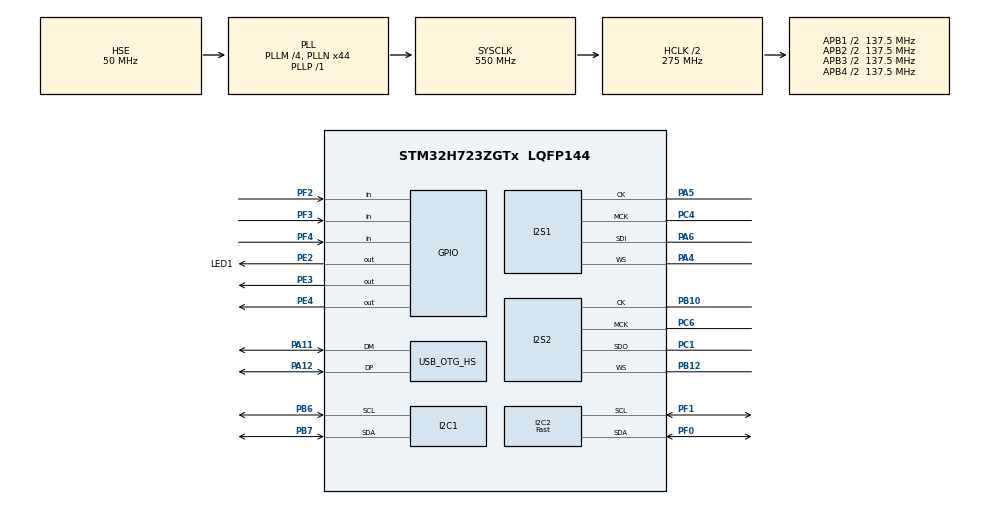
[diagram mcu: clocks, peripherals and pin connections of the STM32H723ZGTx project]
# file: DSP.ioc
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Dma.Request0=SPI1_RX
Dma.Request1=SPI2_TX
Dma.SPI1_RX.0.Direction=DMA_PERIPH_TO_MEMORY
Dma.SPI1_RX.0.EventEnable=DISABLE
Dma.SPI1_RX.0.FIFOMode=DMA_FIFOMODE_DISABLE
Dma.SPI1_RX.0.Instance=DMA1_Stream0
Dma.SPI1_RX.0.MemDataAlignment=DMA_MDATAALIGN_WORD
Dma.SPI1_RX.0.MemInc=DMA_MINC_ENABLE
Dma.SPI1_RX.0.Mode=DMA_CIRCULAR
Dma.SPI1_RX.0.PeriphDataAlignment=DMA_PDATAALIGN_WORD
Dma.SPI1_RX.0.PeriphInc=DMA_PINC_DISABLE
Dma.SPI1_RX.0.Polarity=HAL_DMAMUX_REQ_GEN_RISING
Dma.SPI1_RX.0.Priority=DMA_PRIORITY_VERY_HIGH
Dma.SPI1_RX.0.RequestNumber=1
Dma.SPI1_RX.0.SignalID=NONE
Dma.SPI1_RX.0.SyncEnable=DISABLE
Dma.SPI1_RX.0.SyncPolarity=HAL_DMAMUX_SYNC_NO_EVENT
Dma.SPI1_RX.0.SyncRequestNumber=1
Dma.SPI1_RX.0.SyncSignalID=NONE
Dma.SPI2_TX.1.Direction=DMA_MEMORY_TO_PERIPH
Dma.SPI2_TX.1.EventEnable=DISABLE
Dma.SPI2_TX.1.FIFOMode=DMA_FIFOMODE_DISABLE
Dma.SPI2_TX.1.Instance=DMA1_Stream1
Dma.SPI2_TX.1.MemDataAlignment=DMA_MDATAALIGN_WORD
Dma.SPI2_TX.1.MemInc=DMA_MINC_ENABLE
Dma.SPI2_TX.1.Mode=DMA_CIRCULAR
Dma.SPI2_TX.1.PeriphDataAlignment=DMA_PDATAALIGN_WORD
Dma.SPI2_TX.1.PeriphInc=DMA_PINC_DISABLE
Dma.SPI2_TX.1.Polarity=HAL_DMAMUX_REQ_GEN_RISING
Dma.SPI2_TX.1.Priority=DMA_PRIORITY_VERY_HIGH
Dma.SPI2_TX.1.RequestNumber=1
Dma.SPI2_TX.1.SignalID=NONE
Dma.SPI2_TX.1.SyncEnable=DISABLE
Dma.SPI2_TX.1.SyncPolarity=HAL_DMAMUX_SYNC_NO_EVENT
Dma.SPI2_TX.1.SyncRequestNumber=1
Dma.SPI2_TX.1.SyncSignalID=NONE
I2C1.Timing=0x60404E72
I2C2.I2C_Speed_Mode=I2C_Fast
I2C2.Timing=0x00D049FB
I2S1.AudioFreq=I2S_AUDIOFREQ_48K
I2S1.DataFormat=I2S_DATAFORMAT_24B
I2S1.ErrorAudioFreq=-0.53 %
I2S1.Instance=SPI$Index
I2S1.RealAudioFreq=47.743 KHz
I2S2.AudioFreq=I2S_AUDIOFREQ_48K
I2S2.DataFormat=I2S_DATAFORMAT_24B
I2S2.ErrorAudioFreq=-0.53 %
I2S2.Instance=SPI$Index
I2S2.RealAudioFreq=47.743 KHz
Mcu.Family=STM32H7
Mcu.Name=STM32H723ZGTx
Mcu.Package=LQFP144
NVIC.DMA1_Stream0_IRQn=true\:0\:0\:false\:false\:true\:false\:true\:true
NVIC.DMA1_Stream1_IRQn=true\:0\:0\:false\:false\:true\:false\:true\:true
NVIC.OTG_HS_IRQn=true\:0\:0\:false\:false\:true\:false\:true\:true
NVIC.PriorityGroup=NVIC_PRIORITYGROUP_4
PA11.Mode=Device_Only_FS
PA11.Signal=USB_OTG_HS_DM
PA12.Mode=Device_Only_FS
PA12.Signal=USB_OTG_HS_DP
PA13(JTMS/SWDIO).Mode=Serial_Wire
PA13(JTMS/SWDIO).Signal=DEBUG_JTMS-SWDIO
PA14(JTCK/SWCLK).Mode=Serial_Wire
PA14(JTCK/SWCLK).Signal=DEBUG_JTCK-SWCLK
PA4.Mode=Half_Duplex_Master_Rx
PA4.Signal=I2S1_WS
PA5.Mode=Half_Duplex_Master_Rx
PA5.Signal=I2S1_CK
PA6.Mode=Half_Duplex_Master_Rx
PA6.Signal=I2S1_SDI
PB10.Mode=Half_Duplex_Master_Tx
PB10.Signal=I2S2_CK
PB12.Mode=Half_Duplex_Master_Tx
PB12.Signal=I2S2_WS
PB6.Mode=I2C
PB6.Signal=I2C1_SCL
PB7.Mode=I2C
PB7.Signal=I2C1_SDA
PC1.Mode=Half_Duplex_Master_Tx
PC1.Signal=I2S2_SDO
PC4.Mode=Master_Clock_Activated
PC4.Signal=I2S1_MCK
PC6.Mode=Master_Clock_Activated
PC6.Signal=I2S2_MCK
PE2.GPIO_Label=LED1
PE2.Signal=GPIO_Output
PE3.Signal=GPIO_Output
PE4.Signal=GPIO_Output
PF0.Mode=I2C
PF0.Signal=I2C2_SDA
PF1.Mode=I2C
PF1.Signal=I2C2_SCL
PF2.GPIO_PuPd=GPIO_PULLUP
PF2.Signal=GPIO_Input
PF3.GPIO_PuPd=GPIO_PULLUP
PF3.Signal=GPIO_Input
PF4.GPIO_PuPd=GPIO_PULLUP
PF4.Signal=GPIO_Input
PH0-OSC_IN.Mode=HSE-External-Oscillator
PH0-OSC_IN.Signal=RCC_OSC_IN
PH1-OSC_OUT.Mode=HSE-External-Oscillator
PH1-OSC_OUT.Signal=RCC_OSC_OUT
ProjectManager.HeapSize=0x200
ProjectManager.StackSize=0x400
ProjectManager.TargetToolchain=STM32CubeIDE
RCC.ADCFreq_Value=100781250
RCC.APB1Freq_Value=137500000
RCC.APB2Freq_Value=137500000
RCC.APB3Freq_Value=137500000
RCC.APB4Freq_Value=137500000
RCC.CortexFreq_Value=550000000
RCC.D1PPRE=RCC_APB3_DIV2
RCC.D2PPRE1=RCC_APB1_DIV2
RCC.D2PPRE2=RCC_APB2_DIV2
RCC.D3PPRE=RCC_APB4_DIV2
RCC.DIVM1=4
RCC.DIVN1=44
RCC.DIVP1=1
RCC.DIVQ1=3
RCC.HCLKFreq_Value=275000000
RCC.HPRE=RCC_HCLK_DIV2
RCC.HSE_VALUE=50000000
RCC.PLL2FRACN=0
RCC.PLL3FRACN=0
RCC.PLLFRACN=0
RCC.PLLSourceVirtual=RCC_PLLSOURCE_HSE
RCC.SYSCLKFreq_VALUE=550000000
RCC.SYSCLKSource=RCC_SYSCLKSOURCE_PLLCLK
RCC.USBCLockSelection=RCC_USBCLKSOURCE_HSI48
RCC.USBFreq_Value=48000000
USB_DEVICE.CLASS_NAME_HS=CDC
USB_DEVICE.VirtualMode=Cdc
USB_DEVICE.VirtualModeHS=Cdc_HS
USB_OTG_HS.VirtualMode-Device_Only_FS=Device_Only_FS
VP_USB_DEVICE_VS_USB_DEVICE_CDC_HS.Mode=CDC_HS
board=custom

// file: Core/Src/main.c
/* USER CODE BEGIN Header */
/**
  ******************************************************************************
  * @file           : main.c
  * @brief          : Main program body
  ******************************************************************************
  * @attention
  *
  * Copyright (c) 2023 STMicroelectronics.
  * All rights reserved.
  *
  * This software is licensed under terms that can be found in the LICENSE file
  * in the root directory of this software component.
  * If no LICENSE file comes with this software, it is provided AS-IS.
  *
  ******************************************************************************
  */
/* USER CODE END Header */
#include "main.h"
#include "usb_device.h"

/* USER CODE BEGIN Includes */
#include "ssd1306.h"
#include "fonts.h"
#include "test.h"

#include "usbd_cdc_if.h"

#include "math.h"
/* USER CODE END Includes */

/* USER CODE BEGIN PTD */
#define effectsNum 8
#define sampleRate 47743
#define usbBufferLen 256
/* USER CODE END PTD */

/* USER CODE BEGIN PM */
#define EXECUTE_EFFECT(effect)\
		struct effect ## Config effect ## Params;\
		paramsLen = sizeof(effect ## Params);\
		memcpy(&effect ## Params, effectsData + i, paramsLen);\
		d = effect(d, effect ## Params);

#define LOAD_EFFECT(effect)\
		struct effect ## Config effect ## Params;\
		paramsLen = sizeof(effect ## Params);\
		memcpy(&effect ## Params, effectsData + i, paramsLen);

#define SAVE_EFFECT(effect)\
		memcpy(effectsData + i, &effect ## Params, paramsLen);
/* USER CODE END PM */

I2C_HandleTypeDef hi2c1;
I2C_HandleTypeDef hi2c2;

I2S_HandleTypeDef hi2s1;
I2S_HandleTypeDef hi2s2;
DMA_HandleTypeDef hdma_spi1_rx;
DMA_HandleTypeDef hdma_spi2_tx;

/* USER CODE BEGIN PV */
int8_t bufSize = 64;
int32_t inData[64];
int32_t outData[64];
int32_t process[32];
int32_t output[32];

int8_t inReady = 0;
int8_t outReady = 0;
int8_t execute = 1;

const float HALF_PI = M_PI / 2;
const float ONE_AND_HALF_PI = M_PI + HALF_PI;
const float TWO_PI = 2 * M_PI;

uint8_t effectsData[usbBufferLen];
uint8_t effectsRawData[usbBufferLen] = {0xff, 0x0, 0xff};
uint8_t usbDataBuffer[usbBufferLen];
uint32_t usbBytesReady = 0;

struct distConfig {
	float gain;
};

struct softdistConfig {
	float gain;
};

struct vibratoConfig {
	float *previousInputsPtr;
	int previousInputsLen;
	float frequency;
	float strength;
};

struct chorusConfig {
	float *previousInputsPtr;
	int previousInputsLen;
	float frequency;
	float strength;
};

struct echoConfig {
	float *previousOutputsPtr;
	int previousOutputsLen;
	float delay;
	float attenuation;
};

struct lowpassConfig {
	float *lastOutputPtr;
	float filterConst;
};

struct highpassConfig {
	float *lastSamplesPtr;
	float filterConst;
};

struct tremoloConfig {
	float frequency;
	float strength;
};

struct rotaryConfig {
	float *previousInputsPtr;
	int previousInputsLen;
	float frequency;
	float vibratoStrength;
	float tremoloStrength;
};

struct reverbConfig {
	struct echoConfig filtersParams[6];
	float dry_wet;
	float reverbTime;
};

struct gainConfig {
	float gain;
};

struct noiseSupprConfig {
	int *counter;
	float threshold;
};

struct fuzzConfig {
	uint8_t dummy;
};

struct octaveConfig {
	uint8_t *state;
	float dry_wet;
};

const float dt = 1 / (float) sampleRate;
unsigned long generalInputN = 0;

/* USER CODE END PV */

void SystemClock_Config(void);
static void MX_GPIO_Init(void);
static void MX_DMA_Init(void);
static void MX_I2S1_Init(void);
static void MX_I2S2_Init(void);
static void MX_I2C2_Init(void);
static void MX_I2C1_Init(void);

/* USER CODE BEGIN 0 */
void crash(int code){
	if(code % 2 == 1){
		HAL_GPIO_WritePin(GPIOE, GPIO_PIN_3, 1);
	}
	if((code >> 1) % 2 == 1){
		HAL_GPIO_WritePin(GPIOE, GPIO_PIN_4, 1);
	}
	while(1);
}

void checkForNull(void* ptr){
	if(ptr == NULL){
		crash(3);
	}
}

float getReverbAttenuation(int samples, float time){
	float t = (float) samples / sampleRate;
	return 1 / (exp(t / time * log(1000)));
}

void loadEffects(){
	unsigned int i = 0;
	uint8_t effectId;
	unsigned int paramsLen;
	int channel = 1;
	memcpy(effectsData, effectsRawData, usbBufferLen);

	while(1){
		effectId = *(effectsData + i);
		i++;
		if(effectId == 0xff){
			if(channel == 1){
				channel = 2;
				continue;
			}else{
				break;
			}
		}

		if(effectId == 0){
			paramsLen = 0;

		}else if(effectId == 1){
			LOAD_EFFECT(dist)

		}else if(effectId == 2){
			LOAD_EFFECT(softdist)

		}else if(effectId == 3){
			LOAD_EFFECT(vibrato)
			vibratoParams.frequency = TWO_PI * vibratoParams.frequency / sampleRate;
			vibratoParams.strength = vibratoParams.strength / vibratoParams.frequency;
			vibratoParams.previousInputsLen = ceil(2 * vibratoParams.strength) + 3;
			vibratoParams.previousInputsPtr = (float*) calloc(vibratoParams.previousInputsLen, sizeof(float));
			checkForNull(vibratoParams.previousInputsPtr);
			SAVE_EFFECT(vibrato)

		}else if(effectId == 4){
			LOAD_EFFECT(chorus)
			chorusParams.frequency = TWO_PI * chorusParams.frequency / sampleRate;
			chorusParams.strength = chorusParams.strength / chorusParams.frequency;
			chorusParams.previousInputsLen = ceil(2 * chorusParams.strength) + 3;
			chorusParams.previousInputsPtr = (float*) calloc(chorusParams.previousInputsLen, sizeof(float));
			checkForNull(chorusParams.previousInputsPtr);
			SAVE_EFFECT(chorus)

		}else if(effectId == 5){
			LOAD_EFFECT(echo)
			echoParams.previousOutputsLen = ceil(echoParams.delay * sampleRate);
			echoParams.previousOutputsPtr = (float*) calloc(echoParams.previousOutputsLen, sizeof(float));
			checkForNull(echoParams.previousOutputsPtr);
			SAVE_EFFECT(echo)

		}else if(effectId == 6){
			LOAD_EFFECT(lowpass)
			lowpassParams.filterConst = dt / (dt + 1 / (TWO_PI * lowpassParams.filterConst));
			lowpassParams.lastOutputPtr = (float*) calloc(1, sizeof(float));
			checkForNull(lowpassParams.lastOutputPtr);
			SAVE_EFFECT(lowpass)

		}else if(effectId == 7){
			LOAD_EFFECT(highpass)
			highpassParams.filterConst = dt / (dt + 1 / (TWO_PI * highpassParams.filterConst));
			highpassParams.lastSamplesPtr = (float*) calloc(2, sizeof(float));
			checkForNull(highpassParams.lastSamplesPtr);
			SAVE_EFFECT(highpass)

		}else if(effectId == 8){
			LOAD_EFFECT(tremolo)
			tremoloParams.frequency = TWO_PI * tremoloParams.frequency / sampleRate;
			SAVE_EFFECT(tremolo)

		}else if(effectId == 9){
			LOAD_EFFECT(rotary)
			rotaryParams.frequency = TWO_PI * rotaryParams.frequency / sampleRate;
			rotaryParams.vibratoStrength = rotaryParams.vibratoStrength / rotaryParams.frequency;
			rotaryParams.previousInputsLen = ceil(2 * rotaryParams.vibratoStrength) + 3;
			rotaryParams.previousInputsPtr = (float*) calloc(rotaryParams.previousInputsLen, sizeof(float));
			checkForNull(rotaryParams.previousInputsPtr);
			SAVE_EFFECT(rotary)

		}else if(effectId == 10){
			LOAD_EFFECT(reverb)
			reverbParams.filtersParams[0].attenuation = getReverbAttenuation(9601, reverbParams.reverbTime);
			reverbParams.filtersParams[0].previousOutputsLen = 9601;
			reverbParams.filtersParams[1].attenuation = getReverbAttenuation(9999, reverbParams.reverbTime);
			reverbParams.filtersParams[1].previousOutputsLen = 9999;
			reverbParams.filtersParams[2].attenuation = getReverbAttenuation(10799, reverbParams.reverbTime);
			reverbParams.filtersParams[2].previousOutputsLen = 10799;
			reverbParams.filtersParams[3].attenuation = getReverbAttenuation(11599, reverbParams.reverbTime);
			reverbParams.filtersParams[3].previousOutputsLen = 11599;
			reverbParams.filtersParams[4].attenuation = getReverbAttenuation(11599, reverbParams.reverbTime);
			reverbParams.filtersParams[4].previousOutputsLen = 7001;
			reverbParams.filtersParams[5].attenuation = getReverbAttenuation(11599, reverbParams.reverbTime);
			reverbParams.filtersParams[5].previousOutputsLen = 2333;
			for(int i = 0; i < 6; i++){
				reverbParams.filtersParams[i].previousOutputsPtr = (float*) calloc(reverbParams.filtersParams[i].previousOutputsLen, sizeof(float));
				checkForNull(reverbParams.filtersParams[i].previousOutputsPtr);
			}
			SAVE_EFFECT(reverb)

		}else if(effectId == 11){
			LOAD_EFFECT(gain)

		}else if(effectId == 12){
			LOAD_EFFECT(noiseSuppr)
			noiseSupprParams.counter = (int*) calloc(1, sizeof(int));
			checkForNull(noiseSupprParams.counter);
			SAVE_EFFECT(noiseSuppr)

		}else if(effectId == 13){
			LOAD_EFFECT(fuzz)

		}else if(effectId == 14){
			LOAD_EFFECT(octave)
			octaveParams.state = (uint8_t*) calloc(2, sizeof(uint8_t));
			checkForNull(octaveParams.state);
			SAVE_EFFECT(octave)

		}else{
			crash(1);
		}
		i += paramsLen;
	}
}

void unloadEffects(){
	int i = 0;
	int effectId;
	int paramsLen;
	int channel = 1;

	while(1){
		effectId = *(effectsData + i);
		i++;
		if(effectId == 0xff){
			if(channel == 1){
				channel = 2;
				continue;
			}else{
				break;
			}
		}

		if(effectId == 0){
			paramsLen = 0;

		}else if(effectId == 1){
			LOAD_EFFECT(dist)

		}else if(effectId == 2){
			LOAD_EFFECT(softdist)

		}else if(effectId == 3){
			LOAD_EFFECT(vibrato)
			free(vibratoParams.previousInputsPtr);

		}else if(effectId == 4){
			LOAD_EFFECT(chorus)
			free(chorusParams.previousInputsPtr);

		}else if(effectId == 5){
			LOAD_EFFECT(echo)
			free(echoParams.previousOutputsPtr);

		}else if(effectId == 6){
			LOAD_EFFECT(lowpass)
			free(lowpassParams.lastOutputPtr);

		}else if(effectId == 7){
			LOAD_EFFECT(highpass)
			free(highpassParams.lastSamplesPtr);

		}else if(effectId == 8){
			LOAD_EFFECT(tremolo)

		}else if(effectId == 9){
			LOAD_EFFECT(rotary)
			free(rotaryParams.previousInputsPtr);

		}else if(effectId == 10){
			LOAD_EFFECT(reverb)
			for(int i = 0; i < 6; i++){
				free(reverbParams.filtersParams[i].previousOutputsPtr);
			}

		}else if(effectId == 11){
			LOAD_EFFECT(gain)

		}else if(effectId == 12){
			LOAD_EFFECT(noiseSuppr)
			free(noiseSupprParams.counter);

		}else if(effectId == 13){
			LOAD_EFFECT(fuzz)

		}else if(effectId == 14){
			LOAD_EFFECT(octave)
			free(octaveParams.state);

		}else{
			crash(1);
		}
		i += paramsLen;
	}
}

void HAL_I2S_RxHalfCpltCallback(I2S_HandleTypeDef * hi2s1){
	  for(int i = 0; i < 32; i++){
		  process[i] = inData[i];
	  }
	inReady = 1;
}
void HAL_I2S_TxHalfCpltCallback(I2S_HandleTypeDef * hi2s2){
	  for(int i = 0; i < 32; i++){
		  outData[i] = output[i];
	  }
	outReady = 1;
}
void HAL_I2S_RxCpltCallback(I2S_HandleTypeDef * hi2s1){
	  for(int i = 32; i < 64; i++){
		  process[i-32] = inData[i];
	  }
	inReady = 1;
}
void HAL_I2S_TxCpltCallback(I2S_HandleTypeDef * hi2s2){
	  for(int i = 32; i < 64; i++){
		  outData[i] = output[i-32];
	  }
	outReady = 1;
}

void usbReceiveHandle(){
	if(usbBytesReady >= 256){
		if(usbBytesReady > 256){
			crash(2);
		}
		usbBytesReady = 0;

		if(usbDataBuffer[0] == 0xFE){
			for(int i = 0; i < usbBufferLen; i += 64){
				CDC_Transmit_HS(effectsRawData + i, 64);
				HAL_Delay(5);
			}
		}else{
			unloadEffects();
			memcpy(effectsRawData, usbDataBuffer, usbBufferLen);
			for(int i = 0; i < usbBufferLen; i += 32){
				HAL_I2C_Mem_Write(&hi2c1, 0xA0, i, 2, effectsRawData + i, 32, HAL_MAX_DELAY);
				HAL_Delay(5);
			}
			loadEffects();
		}
	}
}

float loadSample(int i){
	int32_t temp = process[i] << 8;
	float d = (float) temp;
	d = d / 2147483392;
	return d;
}

void saveSample(float d, int i){
	d = d * 2147483392;
	int32_t temp = (int)d;
	temp = temp >> 8;
	output[i] = temp;
}

float dist(float d, struct distConfig params){
	d = d * params.gain;
	if(d > 1){
		d = 1;
	}else if(d < -1){
		d = -1;
	}
	return d;
}

float softdist(float d, struct softdistConfig params){
	d = d * params.gain;
	return atanf(d);
}

float getPreviousSample(float prevSamps[], int prevSampsLen, int currInp, int offset){
	offset = -offset;
	int index;
	if(offset <= currInp){
		index = currInp - offset;
	}else{
		index = prevSampsLen + currInp - offset;
	}

	return prevSamps[index];
}

float interpolate(float prevSamps[], int prevSampsLen, int currInp, float offset){
	int i = floor(offset);
	float r0, r1, r2, r3;
	r0 = offset - 2 - i;
	r1 = r0 + 1;
	r2 = r0 + 2;
	r3 = r0 + 3;

	float i0, i1, i2, i3;

	i0 = getPreviousSample(prevSamps, prevSampsLen, currInp, i);
	i1 = getPreviousSample(prevSamps, prevSampsLen, currInp, i - 1);
	i2 = getPreviousSample(prevSamps, prevSampsLen, currInp, i - 2);
	i3 = getPreviousSample(prevSamps, prevSampsLen, currInp, i - 3);

	return  r1 * r2 * (r3 * i0 - r0 * i3) / 6 + r0 * r3 * (r1 * i2 - r2 * i1) / 2;
}

float vibrato(float d, struct vibratoConfig params){
	int currInp = generalInputN % params.previousInputsLen;
	params.previousInputsPtr[currInp] = d;
	return interpolate(params.previousInputsPtr, params.previousInputsLen, currInp, - params.strength * (sinf(params.frequency * generalInputN) + 1));
}

float chorus(float d, struct chorusConfig params){
	int currInp = generalInputN % params.previousInputsLen;
	params.previousInputsPtr[currInp] = d;
	float vibr = interpolate(params.previousInputsPtr, params.previousInputsLen, currInp, - params.strength * (sinf(params.frequency * generalInputN) + 1));
	float clean = getPreviousSample(params.previousInputsPtr, params.previousInputsLen, currInp, - ((params.previousInputsLen - 3) / 3));
	return (vibr + clean) / 2;
}

float echo(float d, struct echoConfig params){
	int currSampN = generalInputN % params.previousOutputsLen;
	float prevSamp = getPreviousSample(params.previousOutputsPtr, params.previousOutputsLen, currSampN, -params.previousOutputsLen + 1);
	float currSamp = d + params.attenuation * prevSamp;
	params.previousOutputsPtr[currSampN] = currSamp;
	return currSamp;
}

float lowpass(float d, struct lowpassConfig params){
	d = *params.lastOutputPtr + params.filterConst * (d - (*params.lastOutputPtr));
	*params.lastOutputPtr = d;
	return d;
}

float highpass(float d, struct highpassConfig params){
	float temp = params.filterConst * (params.lastSamplesPtr[0] + d - params.lastSamplesPtr[1]);
	params.lastSamplesPtr[1] = d;
	params.lastSamplesPtr[0] = temp;
	return temp;
}

float tremolo(float d, struct tremoloConfig params){
	return d * (1 + params.strength * sinf(params.frequency * generalInputN)) / (1 + params.strength);
}

float rotary(float d, struct rotaryConfig params){
	int currInp = generalInputN % params.previousInputsLen;
	params.previousInputsPtr[currInp] = d;
	float effectSin = sinf(params.frequency * generalInputN);
	float vibr = interpolate(params.previousInputsPtr, params.previousInputsLen, currInp, - params.vibratoStrength * (effectSin + 1));
	return vibr * (1 + params.tremoloStrength * effectSin) / (1 + params.tremoloStrength);
}

float allPass(float d, struct echoConfig params){
	int currSampN = generalInputN % params.previousOutputsLen;
	float prevSamp = getPreviousSample(params.previousOutputsPtr, params.previousOutputsLen, currSampN, -params.previousOutputsLen + 1);
	float currSamp = d + params.attenuation * prevSamp;
	params.previousOutputsPtr[currSampN] = currSamp;
	return currSamp * (1 - params.attenuation * params.attenuation) - params.attenuation * d;
}

float reverb(float d, struct reverbConfig params){
	float comb1 = echo(d, params.filtersParams[0]);
	float comb2 = echo(d, params.filtersParams[1]);
	float comb3 = echo(d, params.filtersParams[2]);
	float comb4 = echo(d, params.filtersParams[3]);
	float sum = comb1 + comb2 + comb3 + comb4;

	return allPass(allPass(sum, params.filtersParams[4]), params.filtersParams[5]) * params.dry_wet + d * (1 - params.dry_wet);
}

float gain(float d, struct gainConfig params){
	return d * params.gain;
}

float noiseSuppr(float d, struct noiseSupprConfig params){
	if(fabs(d) > params.threshold){
		*params.counter = 4000;
	}
	if(*params.counter > 0){
		*params.counter = *params.counter - 1;
		return d;
	}else{
		return 0;
	}
}

float fuzz(float d, struct fuzzConfig params){
	if(d == 0){
		return 0;
	}
	if(d > 0){
		return 1;
	}else{
		return -1;
	}
}

float octave(float d, struct octaveConfig params){
	if(d >= 0){
		if(!params.state[0]){
			params.state[1] = !params.state[1];
		}
		params.state[0] = 1;
	}else{
		params.state[0] = 0;
	}

	if(params.state[1]){
		return (1 - params.dry_wet) * d + params.dry_wet;
	}else{
		return (1 - params.dry_wet) * d - params.dry_wet;
	}
}

void applyEffects(float ch1, float ch2, int codecBufferInd){
	int i = 0;
	int effectId;
	int channel = 1;
	float d = ch1;
	int paramsLen;

	while(1){
		effectId = *(effectsData + i);
		i++;
		if(effectId == 0xff){
			if(channel == 1){
				ch1 = d;
				d = ch2;
				channel = 2;
				continue;
			}else{
				ch2 = d;
				break;
			}
		}

		if(effectId == 0){
			paramsLen = 0;
			d = 0;

		}else if(effectId == 1){
			EXECUTE_EFFECT(dist)

		}else if(effectId == 2){
			EXECUTE_EFFECT(softdist)

		}else if(effectId == 3){
			EXECUTE_EFFECT(vibrato)

		}else if(effectId == 4){
			EXECUTE_EFFECT(chorus)

		}else if(effectId == 5){
			EXECUTE_EFFECT(echo)

		}else if(effectId == 6){
			EXECUTE_EFFECT(lowpass)

		}else if(effectId == 7){
			EXECUTE_EFFECT(highpass)

		}else if(effectId == 8){
			EXECUTE_EFFECT(tremolo)

		}else if(effectId == 9){
			EXECUTE_EFFECT(rotary)

		}else if(effectId == 10){
			EXECUTE_EFFECT(reverb)

		}else if(effectId == 11){
			EXECUTE_EFFECT(gain)

		}else if(effectId == 12){
			EXECUTE_EFFECT(noiseSuppr)

		}else if(effectId == 13){
			EXECUTE_EFFECT(fuzz)

		}else if(effectId == 14){
			EXECUTE_EFFECT(octave)

		}else{
			crash(1);
		}
		i += paramsLen;
	}

	if(ch1 > 1){
		ch1 = 1;
	}else if(ch1 < -1){
		ch1 = -1;
	}
	if(ch2 > 1){
		ch2 = 1;
	}else if(ch2 < -1){
		ch2 = -1;
	}

	saveSample(ch1, codecBufferInd);
	saveSample(ch2, codecBufferInd + 1);
}

void mainLoop(){
	usbReceiveHandle();
	//sound processing
	if(inReady && execute){ //executes when new data is fully loaded into half of the input buffer
		for(int i = 0; i<32; i += 2){
			float ch1 = loadSample(i);
			float ch2 = loadSample(i + 1);

			applyEffects(ch1, ch2, i);
			generalInputN++;
		}
		inReady = 0;
	}
}

/* USER CODE END 0 */

int main(void)
{

  /* MCU Configuration--------------------------------------------------------*/

  /* Reset of all peripherals, Initializes the Flash interface and the Systick. */
  HAL_Init();

  /* Configure the system clock */
  SystemClock_Config();

  /* Initialize all configured peripherals */
  MX_GPIO_Init();
  MX_DMA_Init();
  MX_I2S1_Init();
  MX_I2S2_Init();
  MX_I2C2_Init();
  MX_I2C1_Init();
  MX_USB_DEVICE_Init();
  /* USER CODE BEGIN 2 */
	MX_GPIO_Init();
	SSD1306_Init (); // initialize the display

	SSD1306_GotoXY (0,20); // goto 10, 10
	SSD1306_Puts ("PLAYING :)", &Font_11x18, 1); //
	SSD1306_UpdateScreen(); // update screen
	MX_I2S1_Init();
	MX_I2S2_Init();
	/* USER CODE BEGIN 2 */
	HAL_GPIO_WritePin(GPIOE, GPIO_PIN_2, 1);

	HAL_I2S_Receive_DMA(&hi2s1, &inData, 64);
	HAL_I2S_Transmit_DMA(&hi2s2, &outData, 64);

	for(int i = 0; i < usbBufferLen; i += 32){
		HAL_I2C_Mem_Read(&hi2c1, 0xA1, i, 2, effectsRawData + i, 32, HAL_MAX_DELAY);
		HAL_Delay(5);
	}

	loadEffects();
  /* USER CODE END 2 */

  /* Infinite loop */
  /* USER CODE BEGIN WHILE */
	while (1)
	{
		mainLoop();
    /* USER CODE END WHILE */

	}
}

void SystemClock_Config(void)
{
  RCC_OscInitTypeDef RCC_OscInitStruct = {0};
  RCC_ClkInitTypeDef RCC_ClkInitStruct = {0};

  /** Supply configuration update enable
  */
  HAL_PWREx_ConfigSupply(PWR_LDO_SUPPLY);

  /** Configure the main internal regulator output voltage
  */
  __HAL_PWR_VOLTAGESCALING_CONFIG(PWR_REGULATOR_VOLTAGE_SCALE0);

  while(!__HAL_PWR_GET_FLAG(PWR_FLAG_VOSRDY)) {}

  /** Initializes the RCC Oscillators according to the specified parameters
  * in the RCC_OscInitTypeDef structure.
  */
  RCC_OscInitStruct.OscillatorType = RCC_OSCILLATORTYPE_HSI48|RCC_OSCILLATORTYPE_HSE;
  RCC_OscInitStruct.HSEState = RCC_HSE_ON;
  RCC_OscInitStruct.HSI48State = RCC_HSI48_ON;
  RCC_OscInitStruct.PLL.PLLState = RCC_PLL_ON;
  RCC_OscInitStruct.PLL.PLLSource = RCC_PLLSOURCE_HSE;
  RCC_OscInitStruct.PLL.PLLM = 4;
  RCC_OscInitStruct.PLL.PLLN = 44;
  RCC_OscInitStruct.PLL.PLLP = 1;
  RCC_OscInitStruct.PLL.PLLQ = 3;
  RCC_OscInitStruct.PLL.PLLR = 2;
  RCC_OscInitStruct.PLL.PLLRGE = RCC_PLL1VCIRANGE_3;
  RCC_OscInitStruct.PLL.PLLVCOSEL = RCC_PLL1VCOWIDE;
  RCC_OscInitStruct.PLL.PLLFRACN = 0;
  if (HAL_RCC_OscConfig(&RCC_OscInitStruct) != HAL_OK)
  {
    Error_Handler();
  }

  /** Initializes the CPU, AHB and APB buses clocks
  */
  RCC_ClkInitStruct.ClockType = RCC_CLOCKTYPE_HCLK|RCC_CLOCKTYPE_SYSCLK
                              |RCC_CLOCKTYPE_PCLK1|RCC_CLOCKTYPE_PCLK2
                              |RCC_CLOCKTYPE_D3PCLK1|RCC_CLOCKTYPE_D1PCLK1;
  RCC_ClkInitStruct.SYSCLKSource = RCC_SYSCLKSOURCE_PLLCLK;
  RCC_ClkInitStruct.SYSCLKDivider = RCC_SYSCLK_DIV1;
  RCC_ClkInitStruct.AHBCLKDivider = RCC_HCLK_DIV2;
  RCC_ClkInitStruct.APB3CLKDivider = RCC_APB3_DIV2;
  RCC_ClkInitStruct.APB1CLKDivider = RCC_APB1_DIV2;
  RCC_ClkInitStruct.APB2CLKDivider = RCC_APB2_DIV2;
  RCC_ClkInitStruct.APB4CLKDivider = RCC_APB4_DIV2;

  if (HAL_RCC_ClockConfig(&RCC_ClkInitStruct, FLASH_LATENCY_3) != HAL_OK)
  {
    Error_Handler();
  }
}

static void MX_I2C1_Init(void)
{

  hi2c1.Instance = I2C1;
  hi2c1.Init.Timing = 0x60404E72;
  hi2c1.Init.OwnAddress1 = 0;
  hi2c1.Init.AddressingMode = I2C_ADDRESSINGMODE_7BIT;
  hi2c1.Init.DualAddressMode = I2C_DUALADDRESS_DISABLE;
  hi2c1.Init.OwnAddress2 = 0;
  hi2c1.Init.OwnAddress2Masks = I2C_OA2_NOMASK;
  hi2c1.Init.GeneralCallMode = I2C_GENERALCALL_DISABLE;
  hi2c1.Init.NoStretchMode = I2C_NOSTRETCH_DISABLE;
  if (HAL_I2C_Init(&hi2c1) != HAL_OK)
  {
    Error_Handler();
  }

  /** Configure Analogue filter
  */
  if (HAL_I2CEx_ConfigAnalogFilter(&hi2c1, I2C_ANALOGFILTER_ENABLE) != HAL_OK)
  {
    Error_Handler();
  }

  /** Configure Digital filter
  */
  if (HAL_I2CEx_ConfigDigitalFilter(&hi2c1, 0) != HAL_OK)
  {
    Error_Handler();
  }

}

static void MX_I2C2_Init(void)
{

  hi2c2.Instance = I2C2;
  hi2c2.Init.Timing = 0x00D049FB;
  hi2c2.Init.OwnAddress1 = 0;
  hi2c2.Init.AddressingMode = I2C_ADDRESSINGMODE_7BIT;
  hi2c2.Init.DualAddressMode = I2C_DUALADDRESS_DISABLE;
  hi2c2.Init.OwnAddress2 = 0;
  hi2c2.Init.OwnAddress2Masks = I2C_OA2_NOMASK;
  hi2c2.Init.GeneralCallMode = I2C_GENERALCALL_DISABLE;
  hi2c2.Init.NoStretchMode = I2C_NOSTRETCH_DISABLE;
  if (HAL_I2C_Init(&hi2c2) != HAL_OK)
  {
    Error_Handler();
  }

  /** Configure Analogue filter
  */
  if (HAL_I2CEx_ConfigAnalogFilter(&hi2c2, I2C_ANALOGFILTER_ENABLE) != HAL_OK)
  {
    Error_Handler();
  }

  /** Configure Digital filter
  */
  if (HAL_I2CEx_ConfigDigitalFilter(&hi2c2, 0) != HAL_OK)
  {
    Error_Handler();
  }

}

static void MX_I2S1_Init(void)
{

  hi2s1.Instance = SPI1;
  hi2s1.Init.Mode = I2S_MODE_MASTER_RX;
  hi2s1.Init.Standard = I2S_STANDARD_PHILIPS;
  hi2s1.Init.DataFormat = I2S_DATAFORMAT_24B;
  hi2s1.Init.MCLKOutput = I2S_MCLKOUTPUT_ENABLE;
  hi2s1.Init.AudioFreq = I2S_AUDIOFREQ_48K;
  hi2s1.Init.CPOL = I2S_CPOL_LOW;
  hi2s1.Init.FirstBit = I2S_FIRSTBIT_MSB;
  hi2s1.Init.WSInversion = I2S_WS_INVERSION_DISABLE;
  hi2s1.Init.Data24BitAlignment = I2S_DATA_24BIT_ALIGNMENT_RIGHT;
  hi2s1.Init.MasterKeepIOState = I2S_MASTER_KEEP_IO_STATE_DISABLE;
  if (HAL_I2S_Init(&hi2s1) != HAL_OK)
  {
    Error_Handler();
  }

}

static void MX_I2S2_Init(void)
{

  hi2s2.Instance = SPI2;
  hi2s2.Init.Mode = I2S_MODE_MASTER_TX;
  hi2s2.Init.Standard = I2S_STANDARD_PHILIPS;
  hi2s2.Init.DataFormat = I2S_DATAFORMAT_24B;
  hi2s2.Init.MCLKOutput = I2S_MCLKOUTPUT_ENABLE;
  hi2s2.Init.AudioFreq = I2S_AUDIOFREQ_48K;
  hi2s2.Init.CPOL = I2S_CPOL_LOW;
  hi2s2.Init.FirstBit = I2S_FIRSTBIT_MSB;
  hi2s2.Init.WSInversion = I2S_WS_INVERSION_DISABLE;
  hi2s2.Init.Data24BitAlignment = I2S_DATA_24BIT_ALIGNMENT_RIGHT;
  hi2s2.Init.MasterKeepIOState = I2S_MASTER_KEEP_IO_STATE_DISABLE;
  if (HAL_I2S_Init(&hi2s2) != HAL_OK)
  {
    Error_Handler();
  }

}

static void MX_DMA_Init(void)
{

  /* DMA controller clock enable */
  __HAL_RCC_DMA1_CLK_ENABLE();

  /* DMA interrupt init */
  /* DMA1_Stream0_IRQn interrupt configuration */
  HAL_NVIC_SetPriority(DMA1_Stream0_IRQn, 0, 0);
  HAL_NVIC_EnableIRQ(DMA1_Stream0_IRQn);
  /* DMA1_Stream1_IRQn interrupt configuration */
  HAL_NVIC_SetPriority(DMA1_Stream1_IRQn, 0, 0);
  HAL_NVIC_EnableIRQ(DMA1_Stream1_IRQn);

}

static void MX_GPIO_Init(void)
{
  GPIO_InitTypeDef GPIO_InitStruct = {0};

  /* GPIO Ports Clock Enable */
  __HAL_RCC_GPIOE_CLK_ENABLE();
  __HAL_RCC_GPIOF_CLK_ENABLE();
  __HAL_RCC_GPIOH_CLK_ENABLE();
  __HAL_RCC_GPIOC_CLK_ENABLE();
  __HAL_RCC_GPIOA_CLK_ENABLE();
  __HAL_RCC_GPIOB_CLK_ENABLE();

  /*Configure GPIO pin Output Level */
  HAL_GPIO_WritePin(GPIOE, LED1_Pin|GPIO_PIN_3|GPIO_PIN_4, GPIO_PIN_RESET);

  /*Configure GPIO pins : LED1_Pin PE3 PE4 */
  GPIO_InitStruct.Pin = LED1_Pin|GPIO_PIN_3|GPIO_PIN_4;
  GPIO_InitStruct.Mode = GPIO_MODE_OUTPUT_PP;
  GPIO_InitStruct.Pull = GPIO_NOPULL;
  GPIO_InitStruct.Speed = GPIO_SPEED_FREQ_LOW;
  HAL_GPIO_Init(GPIOE, &GPIO_InitStruct);

  /*Configure GPIO pins : PF2 PF3 PF4 */
  GPIO_InitStruct.Pin = GPIO_PIN_2|GPIO_PIN_3|GPIO_PIN_4;
  GPIO_InitStruct.Mode = GPIO_MODE_INPUT;
  GPIO_InitStruct.Pull = GPIO_PULLUP;
  HAL_GPIO_Init(GPIOF, &GPIO_InitStruct);

}

/* USER CODE BEGIN 4 */
int _write(int file, char *ptr, int len)

{   int DataIdx;

    for(DataIdx = 0; DataIdx < len; DataIdx++)

    { ITM_SendChar( *ptr++); }

     return len;

}

/* USER CODE END 4 */

void Error_Handler(void)
{
  __disable_irq();
  while (1)
  {
  }
}
